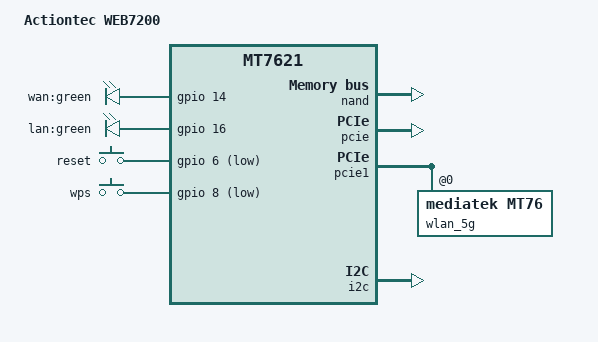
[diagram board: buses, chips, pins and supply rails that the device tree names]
// SPDX-License-Identifier: GPL-2.0-or-later OR MIT

#include "mt7621.dtsi"

#include <dt-bindings/gpio/gpio.h>
#include <dt-bindings/input/input.h>

/ {
	compatible = "actiontec,web7200", "mediatek,mt7621-soc";
	model = "Actiontec WEB7200";

	aliases {
/*		led-boot = &led_white;
		led-failsafe = &led_white;
		led-running = &led_blue;
		led-upgrade = &led_blue;
		label-mac-device = &gmac0;*/
	};

	chosen {
		bootargs = "console=ttyS0,115200";
	};

	leds {
		compatible = "gpio-leds";

		wan_green {
			label = "wan:green";
			gpios = <&gpio 14 GPIO_ACTIVE_HIGH>;
		};

		lan_green {
			label = "lan:green";
			gpios = <&gpio 16 GPIO_ACTIVE_HIGH>;
		};
	};

	keys {
		compatible = "gpio-keys";

		reset {
			label = "reset";
			gpios = <&gpio 6 GPIO_ACTIVE_LOW>;
			linux,code = <KEY_RESTART>;
		};

		wps {
			label = "wps";
			gpios = <&gpio 8 GPIO_ACTIVE_LOW>;
			linux,code = <KEY_WPS_BUTTON>;
		};
	};

};

&nand {
	status = "okay";

	mediatek,nmbm;
	mediatek,bmt-remap-range =
		<0x0 0x580000>,
		<0x3180000 0x3580000>;

	partitions {
		compatible = "fixed-partitions";
		#address-cells = <1>;
		#size-cells = <1>;

		partition@0 {
			label = "u-boot";
			reg = <0x00 0x80000>;
			read-only;
		};

		partition@80000 {
			label = "u-boot-env";
			reg = <0x80000 0x80000>;
		};

		factory: partition@100000 {
			label = "factory";
			reg = <0x100000 0x80000>;
		};

		partition@180000 {
			compatible = "denx,fit";
			label = "firmware";
			openwrt,cmdline-match = "bootselect=0";
			reg = <0x180000 0x3000000>;
		};

		partition@3180000 {
			compatible = "denx,fit";
			label = "firmware2";
			openwrt,cmdline-match = "bootselect=1";
			reg = <0x3180000 0x3000000>;
		};

		partition@6980000 {
			label = "aei_data";
			reg = <0x6980000 0x400000>;
		};

		partition@6180000 {
			label = "aei_data_ext";
			reg = <0x6180000 0x800000>;
		};
	};
};

&pcie {
	status = "okay";
};

&pcie1 {
	wlan_5g: wifi@0,0 {
		compatible = "mediatek,mt76";
		reg = <0x0 0 0 0 0>;
		mediatek,mtd-eeprom = <&factory 0x0>;
	};
};

&i2c {
	status = "okay";
};

&switch0 {
	ports {
		port@0 {
			status = "okay";
			label = "lan";
		};
		port@1 {
			status = "okay";
			label = "wan";
		};
	};
};
